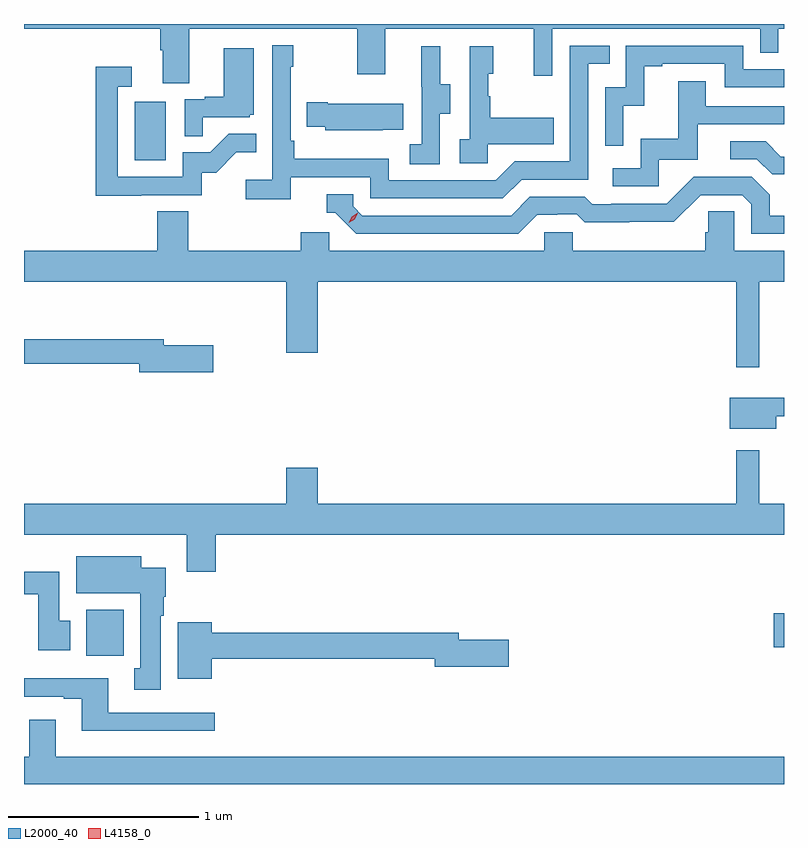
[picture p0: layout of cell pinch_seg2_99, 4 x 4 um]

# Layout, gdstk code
import gdstk
lib = gdstk.Library(unit=1e-6, precision=1e-09)
def R(c, l, rs):  # rectangles x0, y0, x1, y1
    for r in rs: c.add(gdstk.rectangle(r[:2], r[2:], *l))
def P(c, l, *ps):  # polygons
    for p in ps: c.add(gdstk.Polygon(p, *l))
L2000_40 = (2000, 40)
L4158_0 = (4158, 0)

pinch_seg2_99 = lib.new_cell('pinch_seg2_99')
R(pinch_seg2_99, L2000_40, [(1063.055,635.012,1063.252,635.254), (1066.674,635.057,1066.727,635.235), (1063.31,637.62,1063.474,637.927)])
P(pinch_seg2_99, L2000_40, [(1063.597,638.312),(1064.482,638.312),(1064.482,638.073),(1064.629,638.073),(1064.629,638.312),(1065.41,638.312),(1065.41,638.064),(1065.507,638.064),(1065.507,638.312),(1066.602,638.312),(1066.602,638.185),(1066.698,638.185),(1066.698,638.312),(1066.727,638.312),(1066.727,638.337),(1062.727,638.337),(1062.727,638.312),(1063.445,638.312),(1063.445,638.2),(1063.457,638.2),(1063.457,638.026),(1063.597,638.026)],
  [(1064.132,637.53),(1064.55,637.53),(1064.55,637.419),(1065.247,637.419),(1065.346,637.518),(1065.696,637.518),(1065.696,638.127),(1065.809,638.127),(1065.809,638.223),(1065.6,638.223),(1065.6,637.614),(1065.309,637.614),(1065.21,637.515),(1064.646,637.515),(1064.646,637.627),(1064.15,637.627),(1064.15,637.723),(1064.13,637.723),(1064.13,638.111),(1064.143,638.111),(1064.143,638.224),(1064.034,638.224),(1064.034,637.516),(1063.893,637.516),(1063.893,637.414),(1064.132,637.414)],
  [(1065.882,637.907),(1065.992,637.907),(1065.992,638.115),(1066.087,638.115),(1066.087,638.127),(1066.416,638.127),(1066.416,638.004),(1066.727,638.004),(1066.727,638.1),(1066.512,638.1),(1066.512,638.223),(1065.894,638.223),(1065.894,638.004),(1065.786,638.004),(1065.786,637.695),(1065.882,637.695)],
  [(1064.916,637.864),(1064.971,637.864),(1064.971,638.019),(1064.917,638.019),(1064.917,638.221),(1064.819,638.221),(1064.819,638.007),(1064.82,638.007),(1064.82,637.703),(1064.757,637.703),(1064.757,637.6),(1064.916,637.6)],
  [(1065.168,637.703),(1065.515,637.703),(1065.515,637.843),(1065.181,637.843),(1065.181,637.958),(1065.171,637.958),(1065.171,638.076),(1065.196,638.076),(1065.196,638.221),(1065.072,638.221),(1065.072,637.73),(1065.021,637.73),(1065.021,637.605),(1065.168,637.605)],
  [(1063.667,637.845),(1063.914,637.845),(1063.914,637.86),(1063.936,637.86),(1063.936,638.209),(1063.778,638.209),(1063.778,637.954),(1063.679,637.954),(1063.679,637.941),(1063.572,637.941),(1063.572,637.747),(1063.667,637.747)],
  [(1063.343,637.437),(1063.662,637.437),(1063.662,637.554),(1063.738,637.554),(1063.845,637.661),(1063.949,637.661),(1063.949,637.76),(1063.805,637.76),(1063.707,637.662),(1063.563,637.662),(1063.563,637.533),(1063.221,637.533),(1063.221,638.007),(1063.294,638.007),(1063.294,638.113),(1063.105,638.113),(1063.105,637.432),(1063.343,637.432)],
  [(1066.068,637.623),(1066.273,637.623),(1066.273,637.809),(1066.727,637.809),(1066.727,637.905),(1066.315,637.905),(1066.315,638.035),(1066.171,638.035),(1066.171,637.732),(1065.972,637.732),(1065.972,637.578),(1065.825,637.578),(1065.825,637.482),(1066.068,637.482)],
  [(1064.615,637.781),(1064.723,637.781),(1064.723,637.918),(1064.326,637.918),(1064.326,637.926),(1064.215,637.926),(1064.215,637.796),(1064.313,637.796),(1064.313,637.778),(1064.615,637.778)],
  [(1066.727,637.638),(1066.711,637.638),(1066.63,637.719),(1066.443,637.719),(1066.443,637.626),(1066.584,637.626),(1066.664,637.546),(1066.727,637.546)],
  [(1065.427,637.332),(1065.534,637.332),(1065.534,637.335),(1065.637,637.335),(1065.679,637.293),(1065.912,637.293),(1065.912,637.295),(1066.148,637.295),(1066.29,637.437),(1066.506,637.437),(1066.554,637.389),(1066.554,637.233),(1066.727,637.233),(1066.727,637.329),(1066.651,637.329),(1066.651,637.439),(1066.557,637.533),(1066.251,637.533),(1066.11,637.392),(1065.817,637.392),(1065.817,637.389),(1065.718,637.389),(1065.679,637.428),(1065.39,637.428),(1065.291,637.329),(1064.508,637.329),(1064.46,637.377),(1064.46,637.44),(1064.321,637.44),(1064.321,637.344),(1064.364,637.344),(1064.475,637.233),(1065.328,637.233)],
  [(1066.597,636.98),(1066.727,636.98),(1066.727,637.144),(1066.464,637.144),(1066.464,637.352),(1066.327,637.352),(1066.327,637.242),(1066.313,637.242),(1066.313,637.144),(1065.615,637.144),(1065.615,637.242),(1065.465,637.242),(1065.465,637.144),(1064.334,637.144),(1064.334,637.242),(1064.183,637.242),(1064.183,637.144),(1063.592,637.144),(1063.592,637.352),(1063.427,637.352),(1063.427,637.144),(1062.727,637.144),(1062.727,636.98),(1064.108,636.98),(1064.108,636.606),(1064.272,636.606),(1064.272,636.98),(1066.476,636.98),(1066.476,636.531),(1066.597,636.531)],
  [(1063.723,636.645),(1063.462,636.645),(1063.462,636.679),(1062.727,636.679),(1062.727,636.55),(1063.334,636.55),(1063.334,636.503),(1063.723,636.503)],
  [(1066.687,636.273),(1066.727,636.273),(1066.727,636.369),(1066.683,636.369),(1066.683,636.37),(1066.442,636.37),(1066.442,636.206),(1066.687,636.206)],
  [(1063.736,635.648),(1066.727,635.648),(1066.727,635.812),(1066.597,635.812),(1066.597,636.094),(1066.476,636.094),(1066.476,635.812),(1064.272,635.812),(1064.272,636.001),(1064.108,636.001),(1064.108,635.812),(1062.727,635.812),(1062.727,635.648),(1063.583,635.648),(1063.583,635.454),(1063.736,635.454)],
  [(1063.447,635.222),(1063.462,635.222),(1063.462,635.322),(1063.474,635.322),(1063.474,635.476),(1063.345,635.476),(1063.345,635.536),(1063.001,635.536),(1063.001,635.342),(1063.34,635.342),(1063.34,634.946),(1063.307,634.946),(1063.307,634.833),(1063.447,634.833)],
  [(1062.97,635.196),(1062.913,635.196),(1062.913,635.454),(1062.727,635.454),(1062.727,635.336),(1062.803,635.336),(1062.803,635.04),(1062.97,635.04)],
  [(1063.714,634.996),(1064.888,634.996),(1064.888,634.954),(1065.277,634.954),(1065.277,635.096),(1065.016,635.096),(1065.016,635.132),(1063.714,635.132),(1063.714,635.188),(1063.535,635.188),(1063.535,634.892),(1063.714,634.892)],
  [(1063.732,634.713),(1063.171,634.713),(1063.171,634.894),(1062.727,634.894),(1062.727,634.797),(1062.935,634.797),(1062.935,634.785),(1063.031,634.785),(1063.031,634.616),(1063.732,634.616)],
  [(1066.727,634.48),(1062.895,634.48),(1062.895,634.675),(1062.755,634.675),(1062.755,634.48),(1062.727,634.48),(1062.727,634.337),(1066.727,634.337)])
P(pinch_seg2_99, L4158_0, [(1064.437,637.291),(1064.437,637.291),(1064.453,637.323),(1064.484,637.343),(1064.484,637.343),(1064.484,637.342),(1064.468,637.31),(1064.437,637.291)])

lib.write_gds('pinch_seg2_99.gds')
